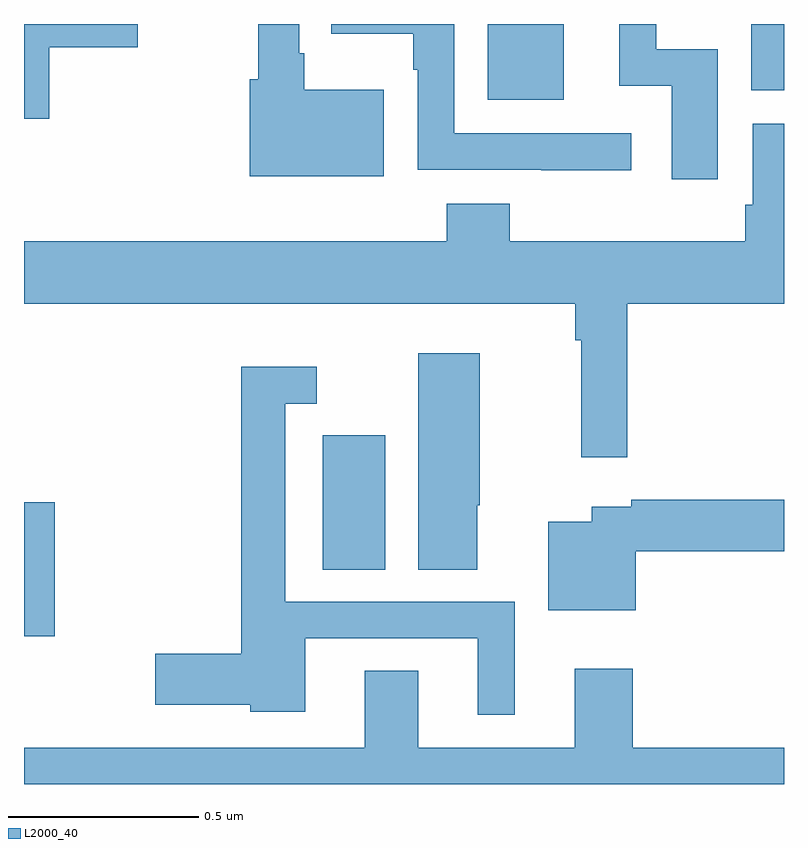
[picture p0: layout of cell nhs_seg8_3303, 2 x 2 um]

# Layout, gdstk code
import gdstk
lib = gdstk.Library(unit=1e-6, precision=1e-09)
def R(c, l, rs):  # rectangles x0, y0, x1, y1
    for r in rs: c.add(gdstk.rectangle(r[:2], r[2:], *l))
def P(c, l, *ps):  # polygons
    for p in ps: c.add(gdstk.Polygon(p, *l))
L2000_40 = (2000, 40)

nhs_seg8_3303 = lib.new_cell('nhs_seg8_3303')
R(nhs_seg8_3303, L2000_40, [(155,1118.289,155.081,1118.641), (155.786,1118.464,155.95,1118.818), (156.221,1119.701,156.421,1119.9), (156.914,1119.726,157,1119.9)])
P(nhs_seg8_3303, L2000_40, [(155.066,1119.839),(155.299,1119.839),(155.299,1119.9),(155,1119.9),(155,1119.651),(155.066,1119.651)],
  [(156.598,1119.612),(156.132,1119.612),(156.132,1119.9),(155.809,1119.9),(155.809,1119.875),(156.024,1119.875),(156.024,1119.779),(156.036,1119.779),(156.036,1119.516),(156.361,1119.516),(156.361,1119.515),(156.598,1119.515)],
  [(155.947,1119.727),(155.737,1119.727),(155.737,1119.823),(155.724,1119.823),(155.724,1119.9),(155.616,1119.9),(155.616,1119.754),(155.594,1119.754),(155.594,1119.5),(155.947,1119.5)],
  [(156.826,1119.834),(156.664,1119.834),(156.664,1119.9),(156.566,1119.9),(156.566,1119.738),(156.704,1119.738),(156.704,1119.492),(156.826,1119.492)],
  [(156.587,1119.164),(157,1119.164),(157,1119.637),(156.918,1119.637),(156.918,1119.424),(156.898,1119.424),(156.898,1119.328),(156.278,1119.328),(156.278,1119.427),(156.113,1119.427),(156.113,1119.328),(155,1119.328),(155,1119.164),(156.451,1119.164),(156.451,1119.068),(156.466,1119.068),(156.466,1118.76),(156.587,1118.76)],
  [(156.193,1118.634),(156.199,1118.634),(156.199,1119.034),(156.038,1119.034),(156.038,1118.464),(156.193,1118.464)],
  [(156.292,1118.379),(155.688,1118.379),(155.688,1118.901),(155.77,1118.901),(155.77,1118.998),(155.572,1118.998),(155.572,1118.243),(155.346,1118.243),(155.346,1118.108),(155.595,1118.108),(155.595,1118.09),(155.74,1118.09),(155.74,1118.283),(156.194,1118.283),(156.194,1118.082),(156.292,1118.082)],
  [(156.61,1118.512),(157,1118.512),(157,1118.648),(156.598,1118.648),(156.598,1118.629),(156.494,1118.629),(156.494,1118.59),(156.38,1118.59),(156.38,1118.357),(156.61,1118.357)],
  [(157,1117.996),(156.602,1117.996),(156.602,1118.203),(156.449,1118.203),(156.449,1117.996),(156.037,1117.996),(156.037,1118.198),(155.897,1118.198),(155.897,1117.996),(155,1117.996),(155,1117.9),(157,1117.9)])

lib.write_gds('nhs_seg8_3303.gds')
